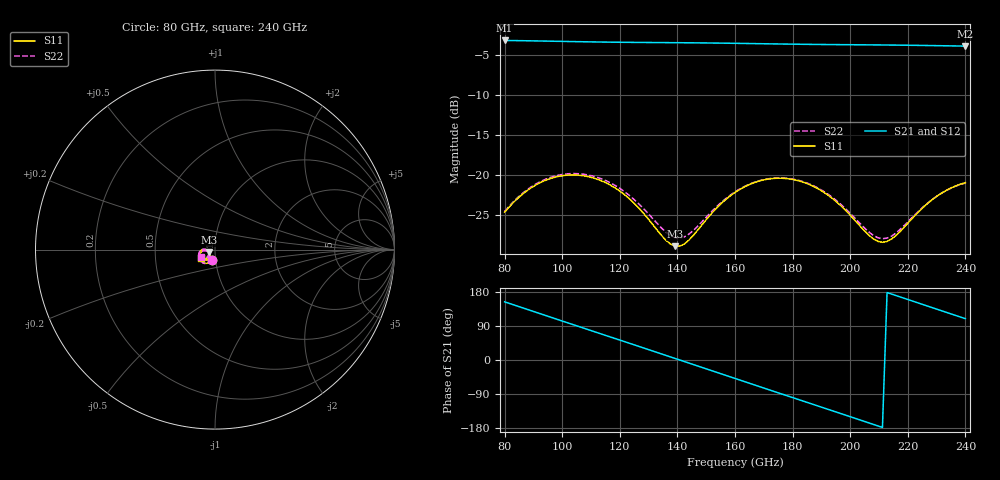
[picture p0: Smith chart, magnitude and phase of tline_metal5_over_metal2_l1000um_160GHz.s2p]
#  GHZ S DB R 50
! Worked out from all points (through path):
!   101 points, 80 GHz to 240 GHz, reference 50 ohm
!   highest |S21| = -3.16 dB at 80 GHz (marker M1); lowest = -3.9 dB at 240 GHz (marker M2)
!   group delay of S21, straight-line fit = 7.02 ps
!   lowest |S11| = -28.9 dB at 139.2 GHz (marker M3), VSWR 1.07, Z = 46.9 - j1.51 ohm
!   |S11| at or under -10 dB: start of sweep to end of sweep
!   |S22| runs from -28.0 to -19.8 dB; largest |S21 - S12| = 7.5e-14
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80  -24.65 -108.2  -3.16 153.5  -3.16 153.5  -24.55 -107.8
86.4  -22.35 -112.6  -3.19 137.3  -3.19 137.3  -22.24 -112.1
94.4  -20.63 -124.9  -3.24 117.0  -3.24 117.0  -20.50 -124.1
100.8  -20.05 -136.5  -3.28 100.9  -3.28 100.9  -19.90 -135.6
107.2  -20.09 -148.5  -3.32 84.7  -3.32 84.7  -19.89 -147.3
120  -22.02 -169.4  -3.39 52.5  -3.39 52.5  -21.67 -167.6
128  -24.70 -175.8  -3.41 32.4  -3.41 32.4  -24.12 -173.7
134.4  -27.53 -169.5  -3.43 16.3  -3.43 16.3  -26.61 -168.5
139.2  -28.91 -153.3  -3.44 4.1  -3.44 4.1  -27.85 -155.3
142.4  -28.64 -140.3  -3.45 -4.0  -3.45 -4.0  -27.75 -144.3
148.8  -26.12 -125.6  -3.47 -20.2  -3.47 -20.2  -25.75 -130.3
160  -22.19 -130.3  -3.52 -48.6  -3.52 -48.6  -22.11 -133.2
168  -20.79 -141.7  -3.56 -68.9  -3.56 -68.9  -20.76 -143.8
174.4  -20.41 -152.1  -3.60 -85.1  -3.60 -85.1  -20.37 -153.8
180.8  -20.61 -162.6  -3.63 -101.2  -3.63 -101.2  -20.56 -163.8
187.2  -21.41 -172.1  -3.66 -117.3  -3.66 -117.3  -21.34 -173.0
201.6  -25.66 179.2  -3.70 -153.6  -3.70 -153.6  -25.39 178.8
209.6  -28.31 -163.4  -3.72 -173.9  -3.72 -173.9  -27.85 -165.2
214.4  -28.01 -146.4  -3.74 173.9  -3.74 173.9  -27.64 -149.6
225.6  -23.97 -133.4  -3.79 145.5  -3.79 145.5  -23.91 -136.6
233.6  -21.88 -140.1  -3.83 125.3  -3.83 125.3  -21.89 -142.9
240  -20.97 -148.7  -3.87 109.1  -3.87 109.1  -21.01 -151.1
